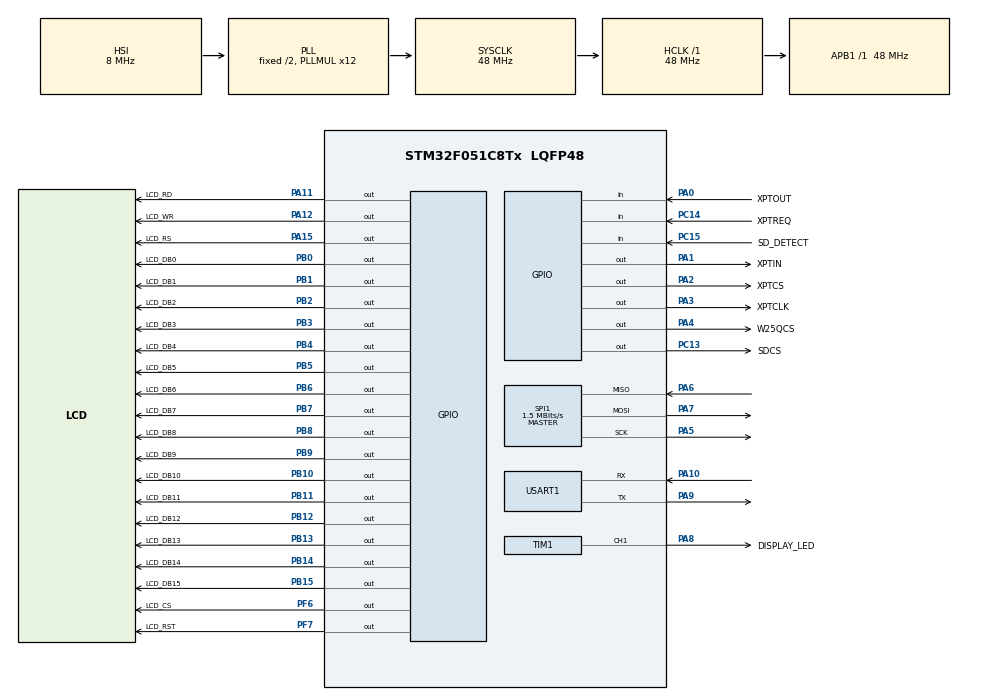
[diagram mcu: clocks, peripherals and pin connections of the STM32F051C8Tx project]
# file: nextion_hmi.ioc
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FATFS._MAX_SS=512
FATFS._USE_LFN=1
Mcu.Family=STM32F0
Mcu.Name=STM32F051C8Tx
Mcu.Package=LQFP48
PA0.GPIO_Label=XPTOUT
PA0.Signal=GPIO_Input
PA1.GPIO_Label=XPTIN
PA1.Signal=GPIO_Output
PA10.Mode=Asynchronous
PA10.Signal=USART1_RX
PA11.GPIO_Label=LCD_RD
PA11.GPIO_Speed=GPIO_SPEED_FREQ_HIGH
PA11.PinState=GPIO_PIN_SET
PA11.Signal=GPIO_Output
PA12.GPIO_Label=LCD_WR
PA12.GPIO_Speed=GPIO_SPEED_FREQ_HIGH
PA12.PinState=GPIO_PIN_SET
PA12.Signal=GPIO_Output
PA13.Mode=Serial_Wire
PA13.Signal=SYS_SWDIO
PA14.Mode=Serial_Wire
PA14.Signal=SYS_SWCLK
PA15.GPIO_Label=LCD_RS
PA15.GPIO_Speed=GPIO_SPEED_FREQ_HIGH
PA15.Signal=GPIO_Output
PA2.GPIO_Label=XPTCS
PA2.PinState=GPIO_PIN_SET
PA2.Signal=GPIO_Output
PA3.GPIO_Label=XPTCLK
PA3.Signal=GPIO_Output
PA4.GPIO_Label=W25QCS
PA4.PinState=GPIO_PIN_SET
PA4.Signal=GPIO_Output
PA5.Mode=Full_Duplex_Master
PA5.Signal=SPI1_SCK
PA6.Mode=Full_Duplex_Master
PA6.Signal=SPI1_MISO
PA7.Mode=Full_Duplex_Master
PA7.Signal=SPI1_MOSI
PA8.GPIO_Label=DISPLAY_LED
PA8.Signal=S_TIM1_CH1
PA9.Mode=Asynchronous
PA9.Signal=USART1_TX
PB0.GPIO_Label=LCD_DB0
PB0.GPIO_Speed=GPIO_SPEED_FREQ_HIGH
PB0.Signal=GPIO_Output
PB1.GPIO_Label=LCD_DB1
PB1.GPIO_Speed=GPIO_SPEED_FREQ_HIGH
PB1.Signal=GPIO_Output
PB10.GPIO_Label=LCD_DB10
PB10.GPIO_Speed=GPIO_SPEED_FREQ_HIGH
PB10.Signal=GPIO_Output
PB11.GPIO_Label=LCD_DB11
PB11.GPIO_Speed=GPIO_SPEED_FREQ_HIGH
PB11.Signal=GPIO_Output
PB12.GPIO_Label=LCD_DB12
PB12.GPIO_Speed=GPIO_SPEED_FREQ_HIGH
PB12.Signal=GPIO_Output
PB13.GPIO_Label=LCD_DB13
PB13.GPIO_Speed=GPIO_SPEED_FREQ_HIGH
PB13.Signal=GPIO_Output
PB14.GPIO_Label=LCD_DB14
PB14.GPIO_Speed=GPIO_SPEED_FREQ_HIGH
PB14.Signal=GPIO_Output
PB15.GPIO_Label=LCD_DB15
PB15.GPIO_Speed=GPIO_SPEED_FREQ_HIGH
PB15.Signal=GPIO_Output
PB2.GPIO_Label=LCD_DB2
PB2.GPIO_Speed=GPIO_SPEED_FREQ_HIGH
PB2.Signal=GPIO_Output
PB3.GPIO_Label=LCD_DB3
PB3.GPIO_Speed=GPIO_SPEED_FREQ_HIGH
PB3.Signal=GPIO_Output
PB4.GPIO_Label=LCD_DB4
PB4.GPIO_Speed=GPIO_SPEED_FREQ_HIGH
PB4.Signal=GPIO_Output
PB5.GPIO_Label=LCD_DB5
PB5.GPIO_Speed=GPIO_SPEED_FREQ_HIGH
PB5.Signal=GPIO_Output
PB6.GPIO_Label=LCD_DB6
PB6.GPIO_Speed=GPIO_SPEED_FREQ_HIGH
PB6.Signal=GPIO_Output
PB7.GPIO_Label=LCD_DB7
PB7.GPIO_Speed=GPIO_SPEED_FREQ_HIGH
PB7.Signal=GPIO_Output
PB8.GPIO_Label=LCD_DB8
PB8.GPIO_Speed=GPIO_SPEED_FREQ_HIGH
PB8.Signal=GPIO_Output
PB9.GPIO_Label=LCD_DB9
PB9.GPIO_Speed=GPIO_SPEED_FREQ_HIGH
PB9.Signal=GPIO_Output
PC13.GPIO_Label=SDCS
PC13.PinState=GPIO_PIN_SET
PC13.Signal=GPIO_Output
PC14-OSC32_IN.GPIO_Label=XPTREQ
PC14-OSC32_IN.Signal=GPIO_Input
PC15-OSC32_OUT.GPIO_Label=SD_DETECT
PC15-OSC32_OUT.Signal=GPIO_Input
PF6.GPIO_Label=LCD_CS
PF6.GPIO_Speed=GPIO_SPEED_FREQ_HIGH
PF6.PinState=GPIO_PIN_SET
PF6.Signal=GPIO_Output
PF7.GPIO_Label=LCD_RST
PF7.PinState=GPIO_PIN_SET
PF7.Signal=GPIO_Output
ProjectManager.HeapSize=0x200
ProjectManager.StackSize=0x400
ProjectManager.TargetToolchain=Other Toolchains (GPDSC)
RCC.AHBFreq_Value=48000000
RCC.APB1Freq_Value=48000000
RCC.APB1TimFreq_Value=48000000
RCC.HCLKFreq_Value=48000000
RCC.PLLMUL=RCC_PLL_MUL12
RCC.SYSCLKFreq_VALUE=48000000
RCC.SYSCLKSource=RCC_SYSCLKSOURCE_PLLCLK
SH.S_TIM1_CH1.0=TIM1_CH1,PWM Generation1 CH1
SPI1.BaudRatePrescaler=SPI_BAUDRATEPRESCALER_32
SPI1.CLKPhase=SPI_PHASE_1EDGE
SPI1.CLKPolarity=SPI_POLARITY_LOW
SPI1.CalculateBaudRate=1.5 MBits/s
SPI1.DataSize=SPI_DATASIZE_8BIT
SPI1.Direction=SPI_DIRECTION_2LINES
SPI1.FirstBit=SPI_FIRSTBIT_MSB
SPI1.Mode=SPI_MODE_MASTER
SPI1.VirtualType=VM_MASTER
TIM1.Channel-PWM\ Generation1\ CH1=TIM_CHANNEL_1
TIM1.Period=100
TIM1.Pulse-PWM\ Generation1\ CH1=50
USART1.VirtualMode-Asynchronous=VM_ASYNC
VP_FATFS_VS_Generic.Mode=User_defined
board=nextion_hmi

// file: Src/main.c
/**
  ******************************************************************************
  * @file           : main.c
  * @brief          : Main program body
  ******************************************************************************
  * This notice applies to any and all portions of this file
  * that are not between comment pairs USER CODE BEGIN and
  * USER CODE END. Other portions of this file, whether
  * inserted by the user or by software development tools
  * are owned by their respective copyright owners.
  *
  * Copyright (c) 2018 STMicroelectronics International N.V.
  * All rights reserved.
  *
  * Redistribution and use in source and binary forms, with or without
  * modification, are permitted, provided that the following conditions are met:
  *
  * 1. Redistribution of source code must retain the above copyright notice,
  *    this list of conditions and the following disclaimer.
  * 2. Redistributions in binary form must reproduce the above copyright notice,
  *    this list of conditions and the following disclaimer in the documentation
  *    and/or other materials provided with the distribution.
  * 3. Neither the name of STMicroelectronics nor the names of other
  *    contributors to this software may be used to endorse or promote products
  *    derived from this software without specific written permission.
  * 4. This software, including modifications and/or derivative works of this
  *    software, must execute solely and exclusively on microcontroller or
  *    microprocessor devices manufactured by or for STMicroelectronics.
  * 5. Redistribution and use of this software other than as permitted under
  *    this license is void and will automatically terminate your rights under
  *    this license.
  *
  * THIS SOFTWARE IS PROVIDED BY STMICROELECTRONICS AND CONTRIBUTORS "AS IS"
  * AND ANY EXPRESS, IMPLIED OR STATUTORY WARRANTIES, INCLUDING, BUT NOT
  * LIMITED TO, THE IMPLIED WARRANTIES OF MERCHANTABILITY, FITNESS FOR A
  * PARTICULAR PURPOSE AND NON-INFRINGEMENT OF THIRD PARTY INTELLECTUAL PROPERTY
  * RIGHTS ARE DISCLAIMED TO THE FULLEST EXTENT PERMITTED BY LAW. IN NO EVENT
  * SHALL STMICROELECTRONICS OR CONTRIBUTORS BE LIABLE FOR ANY DIRECT, INDIRECT,
  * INCIDENTAL, SPECIAL, EXEMPLARY, OR CONSEQUENTIAL DAMAGES (INCLUDING, BUT NOT
  * LIMITED TO, PROCUREMENT OF SUBSTITUTE GOODS OR SERVICES; LOSS OF USE, DATA,
  * OR PROFITS; OR BUSINESS INTERRUPTION) HOWEVER CAUSED AND ON ANY THEORY OF
  * LIABILITY, WHETHER IN CONTRACT, STRICT LIABILITY, OR TORT (INCLUDING
  * NEGLIGENCE OR OTHERWISE) ARISING IN ANY WAY OUT OF THE USE OF THIS SOFTWARE,
  * EVEN IF ADVISED OF THE POSSIBILITY OF SUCH DAMAGE.
  *
  ******************************************************************************
  */
#include "main.h"
#include "stm32f0xx_hal.h"
#include "fatfs.h"

/* USER CODE BEGIN Includes */
#include "nextion.h"
#include "systick.h"
/* USER CODE END Includes */

SPI_HandleTypeDef hspi1;

TIM_HandleTypeDef htim1;

UART_HandleTypeDef huart1;

/* USER CODE BEGIN PV */

/* Private variables ---------------------------------------------------------*/
/* USER CODE END PV */

void SystemClock_Config(void);
static void MX_GPIO_Init(void);
static void MX_TIM1_Init(void);
static void MX_SPI1_Init(void);
static void MX_USART1_UART_Init(void);

void HAL_TIM_MspPostInit(TIM_HandleTypeDef *htim);

/* USER CODE BEGIN PFP */
/* Private function prototypes -----------------------------------------------*/
static void SystemUpdate(void);
/* USER CODE END PFP */

int main(void)
{
  /* USER CODE BEGIN 1 */
    FRESULT res;                                          /* FatFs function common result code */
    uint32_t byteswritten, bytesread;                     /* File write/read counts */
    uint8_t wtext[512] = "This is STM32 working with FatFs"; /* File write buffer */
    uint8_t rtext[512];                                   /* File read buffer */

    uint8_t cfont[3200];        // fontu buferis

    uint32_t touch_to_counter = 10000;

    uint32_t delay = 0;
  /* USER CODE END 1 */

  /* MCU Configuration----------------------------------------------------------*/

  /* Reset of all peripherals, Initializes the Flash interface and the Systick. */
  HAL_Init();

  /* Configure the system clock */
  SystemClock_Config();

  /* Initialize all configured peripherals */
  MX_GPIO_Init();
  MX_TIM1_Init();
  MX_SPI1_Init();
  MX_USART1_UART_Init();
  MX_FATFS_Init();
  /* USER CODE BEGIN 2 */

    Nextion_Init();

    char st[] = "ABCDEFGH";

//    W25Qx_ReadData(cfont, 0, 1144);
//    LCD_SetFont(cfont);
//    LCD_Text(st, 10, 50, 0);
//
//
//    W25Qx_ReadData(cfont, 1144, 3044);
//    LCD_SetFont(cfont);
//    LCD_Text(st, 10, 80, 0);
//
//
//    char stt[] = "12345678";
//
//    W25Qx_ReadData(cfont, 1144+3044, 2004);
//    LCD_SetFont(cfont);
//    LCD_Text(stt, 10, 120, 0);

  /* USER CODE END 2 */

  /* Infinite loop */
  /* USER CODE BEGIN WHILE */
    while (1) {

        if( delay < GetTimestamp() ) {
            delay = GetTimestamp() + 10;

            SystemUpdate();
        }
  /* USER CODE END WHILE */

    }

}

void SystemClock_Config(void)
{

  RCC_OscInitTypeDef RCC_OscInitStruct;
  RCC_ClkInitTypeDef RCC_ClkInitStruct;
  RCC_PeriphCLKInitTypeDef PeriphClkInit;

    /**Initializes the CPU, AHB and APB busses clocks
    */
  RCC_OscInitStruct.OscillatorType = RCC_OSCILLATORTYPE_HSI;
  RCC_OscInitStruct.HSIState = RCC_HSI_ON;
  RCC_OscInitStruct.HSICalibrationValue = 16;
  RCC_OscInitStruct.PLL.PLLState = RCC_PLL_ON;
  RCC_OscInitStruct.PLL.PLLSource = RCC_PLLSOURCE_HSI;
  RCC_OscInitStruct.PLL.PLLMUL = RCC_PLL_MUL12;
  RCC_OscInitStruct.PLL.PREDIV = RCC_PREDIV_DIV1;
  if (HAL_RCC_OscConfig(&RCC_OscInitStruct) != HAL_OK)
  {
    _Error_Handler(__FILE__, __LINE__);
  }

    /**Initializes the CPU, AHB and APB busses clocks
    */
  RCC_ClkInitStruct.ClockType = RCC_CLOCKTYPE_HCLK|RCC_CLOCKTYPE_SYSCLK
                              |RCC_CLOCKTYPE_PCLK1;
  RCC_ClkInitStruct.SYSCLKSource = RCC_SYSCLKSOURCE_PLLCLK;
  RCC_ClkInitStruct.AHBCLKDivider = RCC_SYSCLK_DIV1;
  RCC_ClkInitStruct.APB1CLKDivider = RCC_HCLK_DIV1;

  if (HAL_RCC_ClockConfig(&RCC_ClkInitStruct, FLASH_LATENCY_1) != HAL_OK)
  {
    _Error_Handler(__FILE__, __LINE__);
  }

  PeriphClkInit.PeriphClockSelection = RCC_PERIPHCLK_USART1;
  PeriphClkInit.Usart1ClockSelection = RCC_USART1CLKSOURCE_PCLK1;
  if (HAL_RCCEx_PeriphCLKConfig(&PeriphClkInit) != HAL_OK)
  {
    _Error_Handler(__FILE__, __LINE__);
  }

    /**Configure the Systick interrupt time
    */
  HAL_SYSTICK_Config(HAL_RCC_GetHCLKFreq()/1000);

    /**Configure the Systick
    */
  HAL_SYSTICK_CLKSourceConfig(SYSTICK_CLKSOURCE_HCLK);

  /* SysTick_IRQn interrupt configuration */
  HAL_NVIC_SetPriority(SysTick_IRQn, 0, 0);
}

/* SPI1 init function */
static void MX_SPI1_Init(void)
{

  /* SPI1 parameter configuration*/
  hspi1.Instance = SPI1;
  hspi1.Init.Mode = SPI_MODE_MASTER;
  hspi1.Init.Direction = SPI_DIRECTION_2LINES;
  hspi1.Init.DataSize = SPI_DATASIZE_8BIT;
  hspi1.Init.CLKPolarity = SPI_POLARITY_LOW;
  hspi1.Init.CLKPhase = SPI_PHASE_1EDGE;
  hspi1.Init.NSS = SPI_NSS_SOFT;
  hspi1.Init.BaudRatePrescaler = SPI_BAUDRATEPRESCALER_32;
  hspi1.Init.FirstBit = SPI_FIRSTBIT_MSB;
  hspi1.Init.TIMode = SPI_TIMODE_DISABLE;
  hspi1.Init.CRCCalculation = SPI_CRCCALCULATION_DISABLE;
  hspi1.Init.CRCPolynomial = 7;
  hspi1.Init.CRCLength = SPI_CRC_LENGTH_DATASIZE;
  hspi1.Init.NSSPMode = SPI_NSS_PULSE_ENABLE;
  if (HAL_SPI_Init(&hspi1) != HAL_OK)
  {
    _Error_Handler(__FILE__, __LINE__);
  }

}

/* TIM1 init function */
static void MX_TIM1_Init(void)
{

  TIM_MasterConfigTypeDef sMasterConfig;
  TIM_OC_InitTypeDef sConfigOC;
  TIM_BreakDeadTimeConfigTypeDef sBreakDeadTimeConfig;

  htim1.Instance = TIM1;
  htim1.Init.Prescaler = 0;
  htim1.Init.CounterMode = TIM_COUNTERMODE_UP;
  htim1.Init.Period = 100;
  htim1.Init.ClockDivision = TIM_CLOCKDIVISION_DIV1;
  htim1.Init.RepetitionCounter = 0;
  htim1.Init.AutoReloadPreload = TIM_AUTORELOAD_PRELOAD_DISABLE;
  if (HAL_TIM_PWM_Init(&htim1) != HAL_OK)
  {
    _Error_Handler(__FILE__, __LINE__);
  }

  sMasterConfig.MasterOutputTrigger = TIM_TRGO_RESET;
  sMasterConfig.MasterSlaveMode = TIM_MASTERSLAVEMODE_DISABLE;
  if (HAL_TIMEx_MasterConfigSynchronization(&htim1, &sMasterConfig) != HAL_OK)
  {
    _Error_Handler(__FILE__, __LINE__);
  }

  sConfigOC.OCMode = TIM_OCMODE_PWM1;
  sConfigOC.Pulse = 50;
  sConfigOC.OCPolarity = TIM_OCPOLARITY_HIGH;
  sConfigOC.OCNPolarity = TIM_OCNPOLARITY_HIGH;
  sConfigOC.OCFastMode = TIM_OCFAST_DISABLE;
  sConfigOC.OCIdleState = TIM_OCIDLESTATE_RESET;
  sConfigOC.OCNIdleState = TIM_OCNIDLESTATE_RESET;
  if (HAL_TIM_PWM_ConfigChannel(&htim1, &sConfigOC, TIM_CHANNEL_1) != HAL_OK)
  {
    _Error_Handler(__FILE__, __LINE__);
  }

  sBreakDeadTimeConfig.OffStateRunMode = TIM_OSSR_DISABLE;
  sBreakDeadTimeConfig.OffStateIDLEMode = TIM_OSSI_DISABLE;
  sBreakDeadTimeConfig.LockLevel = TIM_LOCKLEVEL_OFF;
  sBreakDeadTimeConfig.DeadTime = 0;
  sBreakDeadTimeConfig.BreakState = TIM_BREAK_DISABLE;
  sBreakDeadTimeConfig.BreakPolarity = TIM_BREAKPOLARITY_HIGH;
  sBreakDeadTimeConfig.AutomaticOutput = TIM_AUTOMATICOUTPUT_DISABLE;
  if (HAL_TIMEx_ConfigBreakDeadTime(&htim1, &sBreakDeadTimeConfig) != HAL_OK)
  {
    _Error_Handler(__FILE__, __LINE__);
  }

  HAL_TIM_MspPostInit(&htim1);

}

/* USART1 init function */
static void MX_USART1_UART_Init(void)
{

  huart1.Instance = USART1;
  huart1.Init.BaudRate = 38400;
  huart1.Init.WordLength = UART_WORDLENGTH_8B;
  huart1.Init.StopBits = UART_STOPBITS_1;
  huart1.Init.Parity = UART_PARITY_NONE;
  huart1.Init.Mode = UART_MODE_TX_RX;
  huart1.Init.HwFlowCtl = UART_HWCONTROL_NONE;
  huart1.Init.OverSampling = UART_OVERSAMPLING_16;
  huart1.Init.OneBitSampling = UART_ONE_BIT_SAMPLE_DISABLE;
  huart1.AdvancedInit.AdvFeatureInit = UART_ADVFEATURE_NO_INIT;
  if (HAL_UART_Init(&huart1) != HAL_OK)
  {
    _Error_Handler(__FILE__, __LINE__);
  }

}

/** Configure pins as
        * Analog
        * Input
        * Output
        * EVENT_OUT
        * EXTI
*/
static void MX_GPIO_Init(void)
{

  GPIO_InitTypeDef GPIO_InitStruct;

  /* GPIO Ports Clock Enable */
  __HAL_RCC_GPIOC_CLK_ENABLE();
  __HAL_RCC_GPIOA_CLK_ENABLE();
  __HAL_RCC_GPIOB_CLK_ENABLE();
  __HAL_RCC_GPIOF_CLK_ENABLE();

  /*Configure GPIO pin Output Level */
  HAL_GPIO_WritePin(SDCS_GPIO_Port, SDCS_Pin, GPIO_PIN_SET);

  /*Configure GPIO pin Output Level */
  HAL_GPIO_WritePin(GPIOA, XPTIN_Pin|XPTCLK_Pin|LCD_RS_Pin, GPIO_PIN_RESET);

  /*Configure GPIO pin Output Level */
  HAL_GPIO_WritePin(GPIOA, XPTCS_Pin|W25QCS_Pin|LCD_RD_Pin|LCD_WR_Pin, GPIO_PIN_SET);

  /*Configure GPIO pin Output Level */
  HAL_GPIO_WritePin(GPIOB, LCD_DB0_Pin|LCD_DB1_Pin|LCD_DB2_Pin|LCD_DB10_Pin
                          |LCD_DB11_Pin|LCD_DB12_Pin|LCD_DB13_Pin|LCD_DB14_Pin
                          |LCD_DB15_Pin|LCD_DB3_Pin|LCD_DB4_Pin|LCD_DB5_Pin
                          |LCD_DB6_Pin|LCD_DB7_Pin|LCD_DB8_Pin|LCD_DB9_Pin, GPIO_PIN_RESET);

  /*Configure GPIO pin Output Level */
  HAL_GPIO_WritePin(GPIOF, LCD_CS_Pin|LCD_RST_Pin, GPIO_PIN_SET);

  /*Configure GPIO pin : SDCS_Pin */
  GPIO_InitStruct.Pin = SDCS_Pin;
  GPIO_InitStruct.Mode = GPIO_MODE_OUTPUT_PP;
  GPIO_InitStruct.Pull = GPIO_NOPULL;
  GPIO_InitStruct.Speed = GPIO_SPEED_FREQ_LOW;
  HAL_GPIO_Init(SDCS_GPIO_Port, &GPIO_InitStruct);

  /*Configure GPIO pins : XPTREQ_Pin SD_DETECT_Pin */
  GPIO_InitStruct.Pin = XPTREQ_Pin|SD_DETECT_Pin;
  GPIO_InitStruct.Mode = GPIO_MODE_INPUT;
  GPIO_InitStruct.Pull = GPIO_NOPULL;
  HAL_GPIO_Init(GPIOC, &GPIO_InitStruct);

  /*Configure GPIO pin : XPTOUT_Pin */
  GPIO_InitStruct.Pin = XPTOUT_Pin;
  GPIO_InitStruct.Mode = GPIO_MODE_INPUT;
  GPIO_InitStruct.Pull = GPIO_NOPULL;
  HAL_GPIO_Init(XPTOUT_GPIO_Port, &GPIO_InitStruct);

  /*Configure GPIO pins : XPTIN_Pin XPTCS_Pin XPTCLK_Pin W25QCS_Pin */
  GPIO_InitStruct.Pin = XPTIN_Pin|XPTCS_Pin|XPTCLK_Pin|W25QCS_Pin;
  GPIO_InitStruct.Mode = GPIO_MODE_OUTPUT_PP;
  GPIO_InitStruct.Pull = GPIO_NOPULL;
  GPIO_InitStruct.Speed = GPIO_SPEED_FREQ_LOW;
  HAL_GPIO_Init(GPIOA, &GPIO_InitStruct);

  /*Configure GPIO pins : LCD_DB0_Pin LCD_DB1_Pin LCD_DB2_Pin LCD_DB10_Pin
                           LCD_DB11_Pin LCD_DB12_Pin LCD_DB13_Pin LCD_DB14_Pin
                           LCD_DB15_Pin LCD_DB3_Pin LCD_DB4_Pin LCD_DB5_Pin
                           LCD_DB6_Pin LCD_DB7_Pin LCD_DB8_Pin LCD_DB9_Pin */
  GPIO_InitStruct.Pin = LCD_DB0_Pin|LCD_DB1_Pin|LCD_DB2_Pin|LCD_DB10_Pin
                          |LCD_DB11_Pin|LCD_DB12_Pin|LCD_DB13_Pin|LCD_DB14_Pin
                          |LCD_DB15_Pin|LCD_DB3_Pin|LCD_DB4_Pin|LCD_DB5_Pin
                          |LCD_DB6_Pin|LCD_DB7_Pin|LCD_DB8_Pin|LCD_DB9_Pin;
  GPIO_InitStruct.Mode = GPIO_MODE_OUTPUT_PP;
  GPIO_InitStruct.Pull = GPIO_NOPULL;
  GPIO_InitStruct.Speed = GPIO_SPEED_FREQ_HIGH;
  HAL_GPIO_Init(GPIOB, &GPIO_InitStruct);

  /*Configure GPIO pins : LCD_RD_Pin LCD_WR_Pin LCD_RS_Pin */
  GPIO_InitStruct.Pin = LCD_RD_Pin|LCD_WR_Pin|LCD_RS_Pin;
  GPIO_InitStruct.Mode = GPIO_MODE_OUTPUT_PP;
  GPIO_InitStruct.Pull = GPIO_NOPULL;
  GPIO_InitStruct.Speed = GPIO_SPEED_FREQ_HIGH;
  HAL_GPIO_Init(GPIOA, &GPIO_InitStruct);

  /*Configure GPIO pin : LCD_CS_Pin */
  GPIO_InitStruct.Pin = LCD_CS_Pin;
  GPIO_InitStruct.Mode = GPIO_MODE_OUTPUT_PP;
  GPIO_InitStruct.Pull = GPIO_NOPULL;
  GPIO_InitStruct.Speed = GPIO_SPEED_FREQ_HIGH;
  HAL_GPIO_Init(LCD_CS_GPIO_Port, &GPIO_InitStruct);

  /*Configure GPIO pin : LCD_RST_Pin */
  GPIO_InitStruct.Pin = LCD_RST_Pin;
  GPIO_InitStruct.Mode = GPIO_MODE_OUTPUT_PP;
  GPIO_InitStruct.Pull = GPIO_NOPULL;
  GPIO_InitStruct.Speed = GPIO_SPEED_FREQ_LOW;
  HAL_GPIO_Init(LCD_RST_GPIO_Port, &GPIO_InitStruct);

}

/* USER CODE BEGIN 4 */

static void SystemUpdate(void) {
    LCD_SetBrightness();
}

void HAL_SYSTICK_Callback(void) {
    SysTimeCounterUpdate();
}
/* USER CODE END 4 */

void _Error_Handler(char *file, int line)
{
    while(1) {
    }
}

/************************ (C) COPYRIGHT STMicroelectronics *****END OF FILE****/
